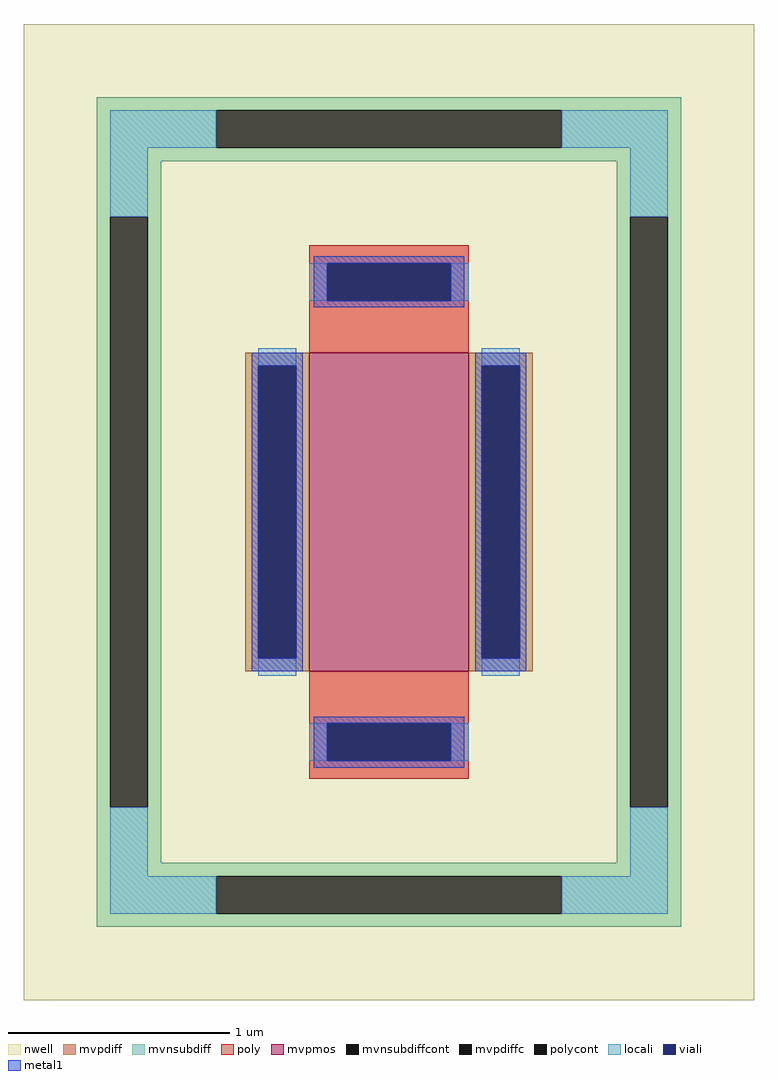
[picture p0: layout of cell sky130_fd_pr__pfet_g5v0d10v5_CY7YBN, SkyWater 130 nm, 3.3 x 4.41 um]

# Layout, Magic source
magic
tech sky130A
magscale 1 2
<< nwell >>
rect -330 -441 330 441
<< mvpmos >>
rect -72 -144 72 144
<< mvpdiff >>
rect -130 132 -72 144
rect -130 -132 -118 132
rect -84 -132 -72 132
rect -130 -144 -72 -132
rect 72 132 130 144
rect 72 -132 84 132
rect 118 -132 130 132
rect 72 -144 130 -132
<< mvpdiffc >>
rect -118 -132 -84 132
rect 84 -132 118 132
<< mvnsubdiff >>
rect -264 363 264 375
rect -264 329 -156 363
rect 156 329 264 363
rect -264 317 264 329
rect -264 267 -206 317
rect -264 -267 -252 267
rect -218 -267 -206 267
rect 206 267 264 317
rect -264 -317 -206 -267
rect 206 -267 218 267
rect 252 -267 264 267
rect 206 -317 264 -267
rect -264 -329 264 -317
rect -264 -363 -156 -329
rect 156 -363 264 -329
rect -264 -375 264 -363
<< mvnsubdiffcont >>
rect -156 329 156 363
rect -252 -267 -218 267
rect 218 -267 252 267
rect -156 -363 156 -329
<< poly >>
rect -72 225 72 241
rect -72 191 -56 225
rect 56 191 72 225
rect -72 144 72 191
rect -72 -191 72 -144
rect -72 -225 -56 -191
rect 56 -225 72 -191
rect -72 -241 72 -225
<< polycont >>
rect -56 191 56 225
rect -56 -225 56 -191
<< locali >>
rect -252 329 -156 363
rect 156 329 252 363
rect -252 267 -218 329
rect 218 267 252 329
rect -72 191 -56 225
rect 56 191 72 225
rect -118 132 -84 148
rect -118 -148 -84 -132
rect 84 132 118 148
rect 84 -148 118 -132
rect -72 -225 -56 -191
rect 56 -225 72 -191
rect -252 -329 -218 -267
rect 218 -329 252 -267
rect -252 -363 -156 -329
rect 156 -363 252 -329
<< viali >>
rect -56 191 56 225
rect -118 -132 -84 132
rect 84 -132 118 132
rect -56 -225 56 -191
<< metal1 >>
rect -68 225 68 231
rect -68 191 -56 225
rect 56 191 68 225
rect -68 185 68 191
rect -124 132 -78 144
rect -124 -132 -118 132
rect -84 -132 -78 132
rect -124 -144 -78 -132
rect 78 132 124 144
rect 78 -132 84 132
rect 118 -132 124 132
rect 78 -144 124 -132
rect -68 -191 68 -185
rect -68 -225 -56 -191
rect 56 -225 68 -191
rect -68 -231 68 -225
<< properties >>
string FIXED_BBOX -235 -346 235 346
string gencell sky130_fd_pr__pfet_g5v0d10v5
string library sky130
string parameters w 1.44 l 0.72 m 1 nf 1 diffcov 100 polycov 100 guard 1 glc 1 grc 1 gtc 1 gbc 1 tbcov 100 rlcov 100 topc 1 botc 1 poverlap 0 doverlap 1 lmin 0.50 wmin 0.42 class mosfet compatible {sky130_fd_pr__pfet_01v8  sky130_fd_pr__pfet_01v8_lvt sky130_fd_pr__pfet_01v8_hvt  sky130_fd_pr__pfet_g5v0d10v5} full_metal 1 viasrc 100 viadrn 100 viagate 100 viagb 0 viagr 0 viagl 0 viagt 0
<< end >>
